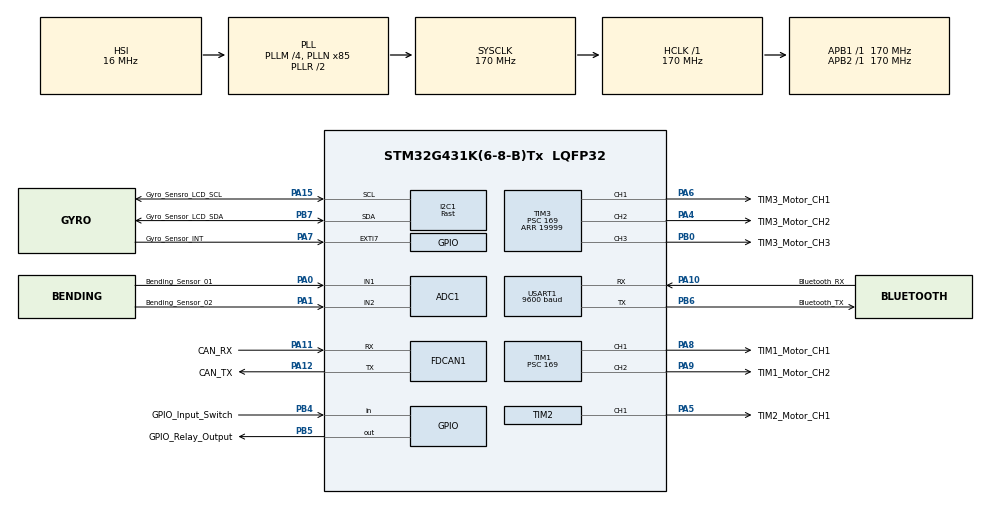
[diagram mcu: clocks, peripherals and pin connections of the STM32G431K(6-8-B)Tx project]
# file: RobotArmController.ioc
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ADC1.Channel-0\#ChannelRegularConversion=ADC_CHANNEL_1
ADC1.Channel-1\#ChannelRegularConversion=ADC_CHANNEL_2
ADC1.ContinuousConvMode=ENABLE
ADC1.DMAContinuousRequests=ENABLE
ADC1.NbrOfConversion=2
ADC1.NbrOfConversionFlag=1
ADC1.OffsetNumber-0\#ChannelRegularConversion=ADC_OFFSET_NONE
ADC1.OffsetNumber-1\#ChannelRegularConversion=ADC_OFFSET_NONE
ADC1.Rank-0\#ChannelRegularConversion=1
ADC1.Rank-1\#ChannelRegularConversion=2
ADC1.SamplingTime-0\#ChannelRegularConversion=ADC_SAMPLETIME_47CYCLES_5
ADC1.SamplingTime-1\#ChannelRegularConversion=ADC_SAMPLETIME_47CYCLES_5
ADC1.master=1
Dma.ADC1.1.Direction=DMA_PERIPH_TO_MEMORY
Dma.ADC1.1.EventEnable=DISABLE
Dma.ADC1.1.Instance=DMA1_Channel2
Dma.ADC1.1.MemDataAlignment=DMA_MDATAALIGN_HALFWORD
Dma.ADC1.1.MemInc=DMA_MINC_ENABLE
Dma.ADC1.1.Mode=DMA_CIRCULAR
Dma.ADC1.1.PeriphDataAlignment=DMA_PDATAALIGN_HALFWORD
Dma.ADC1.1.PeriphInc=DMA_PINC_DISABLE
Dma.ADC1.1.Polarity=HAL_DMAMUX_REQ_GEN_RISING
Dma.ADC1.1.Priority=DMA_PRIORITY_MEDIUM
Dma.ADC1.1.RequestNumber=1
Dma.ADC1.1.SignalID=NONE
Dma.ADC1.1.SyncEnable=DISABLE
Dma.ADC1.1.SyncPolarity=HAL_DMAMUX_SYNC_NO_EVENT
Dma.ADC1.1.SyncRequestNumber=1
Dma.ADC1.1.SyncSignalID=NONE
Dma.I2C1_RX.0.Direction=DMA_PERIPH_TO_MEMORY
Dma.I2C1_RX.0.EventEnable=DISABLE
Dma.I2C1_RX.0.Instance=DMA1_Channel1
Dma.I2C1_RX.0.MemDataAlignment=DMA_MDATAALIGN_BYTE
Dma.I2C1_RX.0.MemInc=DMA_MINC_ENABLE
Dma.I2C1_RX.0.Mode=DMA_NORMAL
Dma.I2C1_RX.0.PeriphDataAlignment=DMA_PDATAALIGN_BYTE
Dma.I2C1_RX.0.PeriphInc=DMA_PINC_DISABLE
Dma.I2C1_RX.0.Polarity=HAL_DMAMUX_REQ_GEN_RISING
Dma.I2C1_RX.0.Priority=DMA_PRIORITY_MEDIUM
Dma.I2C1_RX.0.RequestNumber=1
Dma.I2C1_RX.0.SignalID=NONE
Dma.I2C1_RX.0.SyncEnable=DISABLE
Dma.I2C1_RX.0.SyncPolarity=HAL_DMAMUX_SYNC_NO_EVENT
Dma.I2C1_RX.0.SyncRequestNumber=1
Dma.I2C1_RX.0.SyncSignalID=NONE
Dma.Request0=I2C1_RX
Dma.Request1=ADC1
FDCAN1.AutoRetransmission=ENABLE
FDCAN1.CalculateBaudRateNominal=500000
FDCAN1.CalculateTimeBitNominal=2000
FDCAN1.CalculateTimeQuantumNominal=100.0
FDCAN1.NominalPrescaler=17
FDCAN1.NominalTimeSeg1=9
FDCAN1.NominalTimeSeg2=10
FDCAN1.StdFiltersNbr=2
FREERTOS.BinarySemaphores01=CAN_Sem,Dynamic,NULL,Available;LCD_Sem,Dynamic,NULL,Available;Gyro_Sem,Dynamic,NULL,Available
FREERTOS.INCLUDE_pcTaskGetTaskName=1
FREERTOS.INCLUDE_xSemaphoreGetMutexHolder=1
FREERTOS.Queues01=CAN_Queue,16,uint16_t,0,Dynamic,NULL,NULL;BT_Queue,16,uint16_t,0,Dynamic,NULL,NULL
FREERTOS.Tasks01=defaultTask,24,128,StartDefaultTask,Default,NULL,Dynamic,NULL,NULL;Comm_Task,32,256,StartCommTask,Default,NULL,Dynamic,NULL,NULL;Servo_Task,24,256,StartServoTask,Default,NULL,Dynamic,NULL,NULL;LCD_Task,16,256,StartLCDTask04,Default,NULL,Dynamic,NULL,NULL;Mode_Task,32,128,StartModeTask,Default,NULL,Dynamic,NULL,NULL
FREERTOS.Timers01=TimerOnce,TimerOnce_Callback,osTimerOnce,Default,NULL,Dynamic,NULL;Timer10ms,Timer10ms_Callback,osTimerPeriodic,Default,NULL,Dynamic,NULL;Timer100ms,Timer100ms_Callback,osTimerPeriodic,Default,NULL,Dynamic,NULL
FREERTOS.configCHECK_FOR_STACK_OVERFLOW=2
FREERTOS.configENABLE_FPU=1
FREERTOS.configTOTAL_HEAP_SIZE=8192
FREERTOS.configUSE_NEWLIB_REENTRANT=1
I2C1.I2C_Speed_Mode=I2C_Fast
I2C1.Timing=0x40621236
Mcu.Family=STM32G4
Mcu.Name=STM32G431K(6-8-B)Tx
Mcu.Package=LQFP32
NUCLEO-G431KB.LD2=true
NUCLEO-G431KB.VCP=true
NVIC.ADC1_2_IRQn=true\:5\:0\:false\:false\:true\:true\:true\:true\:true
NVIC.DMA1_Channel1_IRQn=true\:5\:0\:false\:false\:true\:true\:false\:true\:true
NVIC.DMA1_Channel2_IRQn=true\:5\:0\:false\:false\:true\:true\:false\:true\:true
NVIC.EXTI9_5_IRQn=true\:5\:0\:false\:false\:true\:true\:true\:true\:true
NVIC.FDCAN1_IT0_IRQn=true\:5\:0\:false\:false\:true\:true\:true\:true\:true
NVIC.FDCAN1_IT1_IRQn=true\:5\:0\:false\:false\:true\:true\:true\:true\:true
NVIC.I2C1_ER_IRQn=true\:5\:0\:false\:false\:true\:true\:true\:true\:true
NVIC.I2C1_EV_IRQn=true\:5\:0\:false\:false\:true\:true\:true\:true\:true
NVIC.PriorityGroup=NVIC_PRIORITYGROUP_4
NVIC.TIM4_IRQn=true\:15\:0\:false\:false\:true\:false\:false\:true\:true
NVIC.TimeBase=TIM4_IRQn
NVIC.TimeBaseIP=TIM4
NVIC.USART1_IRQn=true\:5\:0\:false\:false\:true\:true\:true\:true\:true
PA0.GPIO_Label=Bending_Sensor_01
PA0.Mode=IN1-Single-Ended
PA0.Signal=ADC1_IN1
PA1.GPIO_Label=Bending_Sensor_02
PA1.Mode=IN2-Single-Ended
PA1.Signal=ADC1_IN2
PA10.GPIO_Label=Bluetooth_RX
PA10.Mode=Asynchronous
PA10.Signal=USART1_RX
PA11.GPIO_Label=CAN_RX
PA11.Mode=FDCAN_Activate
PA11.Signal=FDCAN1_RX
PA12.GPIO_Label=CAN_TX
PA12.Mode=FDCAN_Activate
PA12.Signal=FDCAN1_TX
PA13.GPIO_Label=T_SWDIO
PA13.Mode=Serial_Wire
PA13.Signal=SYS_JTMS-SWDIO
PA14.GPIO_Label=T_SWCLK
PA14.Mode=Serial_Wire
PA14.Signal=SYS_JTCK-SWCLK
PA15.GPIO_Label=Gyro_Sensro_LCD_SCL
PA15.Mode=I2C
PA15.Signal=I2C1_SCL
PA2.Signal=USART2_TX
PA3.Signal=USART2_RX
PA4.GPIO_Label=TIM3_Motor_CH2
PA4.Signal=S_TIM3_CH2
PA5.GPIO_Label=TIM2_Motor_CH1
PA5.Signal=S_TIM2_CH1
PA6.GPIO_Label=TIM3_Motor_CH1
PA6.Signal=S_TIM3_CH1
PA7.GPIO_Label=Gyro_Sensor_INT
PA7.GPIO_ModeDefaultEXTI=GPIO_MODE_IT_RISING
PA7.GPIO_PuPd=GPIO_NOPULL
PA7.Signal=GPXTI7
PA8.GPIO_Label=TIM1_Motor_CH1
PA8.Signal=S_TIM1_CH1
PA9.GPIO_Label=TIM1_Motor_CH2
PA9.Signal=S_TIM1_CH2
PB0.GPIO_Label=TIM3_Motor_CH3
PB0.Signal=S_TIM3_CH3
PB3.GPIO_Label=T_SWO
PB3.Signal=SYS_JTDO-SWO
PB4.GPIO_Label=GPIO_Input_Switch
PB4.GPIO_PuPd=GPIO_PULLUP
PB4.Signal=GPIO_Input
PB5.GPIO_Label=GPIO_Relay_Output
PB5.GPIO_PuPd=GPIO_NOPULL
PB5.GPIO_Speed=GPIO_SPEED_FREQ_LOW
PB5.Signal=GPIO_Output
PB6.GPIO_Label=Bluetooth_TX
PB6.Mode=Asynchronous
PB6.Signal=USART1_TX
PB7.GPIO_Label=Gyro_Sensor_LCD_SDA
PB7.Mode=I2C
PB7.Signal=I2C1_SDA
PF0-OSC_IN.GPIO_Label=Clock_Timing_IN
PF0-OSC_IN.Mode=HSE-External-Oscillator
PF0-OSC_IN.Signal=RCC_OSC_IN
PF1-OSC_OUT.GPIO_Label=Clock_Timing_OUT
PF1-OSC_OUT.Mode=HSE-External-Oscillator
PF1-OSC_OUT.Signal=RCC_OSC_OUT
ProjectManager.HeapSize=0x200
ProjectManager.StackSize=0x400
ProjectManager.TargetToolchain=STM32CubeIDE
RCC.ADC12Freq_Value=170000000
RCC.AHBFreq_Value=170000000
RCC.APB1Freq_Value=170000000
RCC.APB1TimFreq_Value=170000000
RCC.APB2Freq_Value=170000000
RCC.APB2TimFreq_Value=170000000
RCC.CortexFreq_Value=170000000
RCC.EXTERNAL_CLOCK_VALUE=12288000
RCC.HCLKFreq_Value=170000000
RCC.HSE_VALUE=8000000
RCC.HSI48_VALUE=48000000
RCC.HSI_VALUE=16000000
RCC.LSE_VALUE=32768
RCC.PLLM=RCC_PLLM_DIV4
RCC.PLLN=85
RCC.PREFETCH_ENABLE=1
RCC.SYSCLKFreq_VALUE=170000000
RCC.SYSCLKSource=RCC_SYSCLKSOURCE_PLLCLK
RCC.USBFreq_Value=170000000
RCC.VCOOutputFreq_Value=340000000
SH.S_TIM1_CH1.0=TIM1_CH1,PWM Generation1 CH1
SH.S_TIM1_CH2.0=TIM1_CH2,PWM Generation2 CH2
SH.S_TIM2_CH1.0=TIM2_CH1,PWM Generation1 CH1
SH.S_TIM3_CH1.0=TIM3_CH1,PWM Generation1 CH1
SH.S_TIM3_CH2.0=TIM3_CH2,PWM Generation2 CH2
SH.S_TIM3_CH3.0=TIM3_CH3,PWM Generation3 CH3
TIM1.Channel-PWM\ Generation1\ CH1=TIM_CHANNEL_1
TIM1.Channel-PWM\ Generation2\ CH2=TIM_CHANNEL_2
TIM1.PeriodNoDither=19999
TIM1.Prescaler=169
TIM1.PulseNoDither_1=1500
TIM1.PulseNoDither_2=1500
TIM2.Channel-PWM\ Generation1\ CH1=TIM_CHANNEL_1
TIM2.PeriodNoDither=19999
TIM2.Prescaler=169
TIM2.PulseNoDither_1=1500
TIM3.Channel-PWM\ Generation1\ CH1=TIM_CHANNEL_1
TIM3.Channel-PWM\ Generation2\ CH2=TIM_CHANNEL_2
TIM3.Channel-PWM\ Generation3\ CH3=TIM_CHANNEL_3
TIM3.PeriodNoDither=19999
TIM3.Prescaler=169
TIM3.PulseNoDither_1=1500
TIM3.PulseNoDither_2=1500
TIM3.PulseNoDither_3=1500
USART1.BaudRate=9600
USART1.VirtualMode-Asynchronous=VM_ASYNC
VP_FREERTOS_VS_CMSIS_V2.Mode=CMSIS_V2
VP_NUCLEO-G431KB_VS_BSP_COMMON.Mode=COMMON
VP_SYS_VS_DBSignals.Mode=DisableDeadBatterySignals
VP_SYS_VS_tim4.Mode=TIM4
board=NUCLEO-G431KB

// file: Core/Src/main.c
/* USER CODE BEGIN Header */
/**
  ******************************************************************************
  * @file           : main.c
  * @brief          : Main program body
  ******************************************************************************
  * @attention
  *
  * Copyright (c) 2026 STMicroelectronics.
  * All rights reserved.
  *
  * This software is licensed under terms that can be found in the LICENSE file
  * in the root directory of this software component.
  * If no LICENSE file comes with this software, it is provided AS-IS.
  *
  ******************************************************************************
  */
/* USER CODE END Header */
#include "main.h"
#include "cmsis_os.h"

/* USER CODE BEGIN Includes */
#include "comm_can.h"
#include "comm_can_controller.h"
#include "comm_can_robot.h"
#include "readSensor.h"
#include "bt_comm.h"
#include "Comm_Power_Select.h"
#include "debug_comm.h"          /* 릴레이 없이 CAN/BT 테스트 시 사용 (DEBUG_COMM_ENABLE 참고) */
#include "debug_comm_select.h"   /* debug_comm + 물리 버튼 폴링(PB4) 통합 버전 */
/* USER CODE END Includes */

COM_InitTypeDef BspCOMInit;

ADC_HandleTypeDef hadc1;
DMA_HandleTypeDef hdma_adc1;

FDCAN_HandleTypeDef hfdcan1;

I2C_HandleTypeDef hi2c1;
DMA_HandleTypeDef hdma_i2c1_rx;

TIM_HandleTypeDef htim1;
TIM_HandleTypeDef htim2;
TIM_HandleTypeDef htim3;

UART_HandleTypeDef huart1;

/* Definitions for defaultTask */
osThreadId_t defaultTaskHandle;
const osThreadAttr_t defaultTask_attributes = {
  .name = "defaultTask",
  .priority = (osPriority_t) osPriorityNormal,
  .stack_size = 128 * 4
};
/* Definitions for Comm_Task */
osThreadId_t Comm_TaskHandle;
const osThreadAttr_t Comm_Task_attributes = {
  .name = "Comm_Task",
  .priority = (osPriority_t) osPriorityAboveNormal,
  .stack_size = 256 * 4
};
/* Definitions for Servo_Task */
osThreadId_t Servo_TaskHandle;
const osThreadAttr_t Servo_Task_attributes = {
  .name = "Servo_Task",
  .priority = (osPriority_t) osPriorityNormal,
  .stack_size = 256 * 4
};
/* Definitions for LCD_Task */
osThreadId_t LCD_TaskHandle;
const osThreadAttr_t LCD_Task_attributes = {
  .name = "LCD_Task",
  .priority = (osPriority_t) osPriorityBelowNormal,
  .stack_size = 256 * 4
};
/* Definitions for Mode_Task */
osThreadId_t Mode_TaskHandle;
const osThreadAttr_t Mode_Task_attributes = {
  .name = "Mode_Task",
  .priority = (osPriority_t) osPriorityAboveNormal,
  .stack_size = 512 * 4
};
/* Definitions for CAN_Queue */
osMessageQueueId_t CAN_QueueHandle;
const osMessageQueueAttr_t CAN_Queue_attributes = {
  .name = "CAN_Queue"
};
/* Definitions for BT_Queue */
osMessageQueueId_t BT_QueueHandle;
const osMessageQueueAttr_t BT_Queue_attributes = {
  .name = "BT_Queue"
};
/* Definitions for TimerOnce */
osTimerId_t TimerOnceHandle;
const osTimerAttr_t TimerOnce_attributes = {
  .name = "TimerOnce"
};
/* Definitions for Timer10ms */
osTimerId_t Timer10msHandle;
const osTimerAttr_t Timer10ms_attributes = {
  .name = "Timer10ms"
};
/* Definitions for Timer100ms */
osTimerId_t Timer100msHandle;
const osTimerAttr_t Timer100ms_attributes = {
  .name = "Timer100ms"
};
/* Definitions for CAN_Sem */
osSemaphoreId_t CAN_SemHandle;
const osSemaphoreAttr_t CAN_Sem_attributes = {
  .name = "CAN_Sem"
};
/* Definitions for LCD_Sem */
osSemaphoreId_t LCD_SemHandle;
const osSemaphoreAttr_t LCD_Sem_attributes = {
  .name = "LCD_Sem"
};
/* Definitions for Gyro_Sem */
osSemaphoreId_t Gyro_SemHandle;
const osSemaphoreAttr_t Gyro_Sem_attributes = {
  .name = "Gyro_Sem"
};

void SystemClock_Config(void);
static void MX_GPIO_Init(void);
static void MX_DMA_Init(void);
static void MX_FDCAN1_Init(void);
static void MX_I2C1_Init(void);
static void MX_ADC1_Init(void);
static void MX_USART1_UART_Init(void);
static void MX_TIM1_Init(void);
static void MX_TIM2_Init(void);
static void MX_TIM3_Init(void);
void StartDefaultTask(void *argument);
void StartCommTask(void *argument);
void StartServoTask(void *argument);
void StartLCDTask04(void *argument);
void StartModeTask(void *argument);
void TimerOnce_Callback(void *argument);
void Timer10ms_Callback(void *argument);
void Timer100ms_Callback(void *argument);

int main(void)
{

  /* MCU Configuration--------------------------------------------------------*/

  /* Reset of all peripherals, Initializes the Flash interface and the Systick. */
  HAL_Init();

  /* Configure the system clock */
  SystemClock_Config();

  /* Initialize all configured peripherals */
  MX_GPIO_Init();
  MX_DMA_Init();
  MX_FDCAN1_Init();
  MX_I2C1_Init();
  MX_ADC1_Init();
  MX_USART1_UART_Init();
  MX_TIM1_Init();
  MX_TIM2_Init();
  MX_TIM3_Init();
  /* USER CODE BEGIN 2 */
  /* ── 통신 초기화: 아래 셋 중 하나만 활성화 ──────────────
     [실사용]         릴레이 하드웨어 연결 시
                       CommPowerSelect_Init();
     [디버그-LiveExp]  릴레이 없이 CAN/BT 직접 테스트 (Live Expression 전환)
                       debug_comm.h에서 DEBUG_COMM_ENABLE=1, MODE 설정
                       Debug_Comm_Init();
     [디버그-버튼]     위와 동일 + PB4 물리 버튼으로도 CAN↔BT 토글 가능
                       Debug_CommSelect_Init();
     ──────────────────────────────────────────────────── */
#if (DEBUG_COMM_ENABLE)
  Debug_CommSelect_Init();
#else
  CommPowerSelect_Init();
#endif

  ReadSensor_Init();      // ADC DMA 시작, 센서 초기화 (통신 초기화 완료 후 마지막)
  /* USER CODE END 2 */

  /* Init scheduler */
  osKernelInitialize();

  /* Create the semaphores(s) */
  /* creation of CAN_Sem */
  CAN_SemHandle = osSemaphoreNew(1, 1, &CAN_Sem_attributes);

  /* creation of LCD_Sem */
  LCD_SemHandle = osSemaphoreNew(1, 1, &LCD_Sem_attributes);

  /* creation of Gyro_Sem */
  Gyro_SemHandle = osSemaphoreNew(1, 1, &Gyro_Sem_attributes);

  /* Create the timer(s) */
  /* creation of TimerOnce */
  TimerOnceHandle = osTimerNew(TimerOnce_Callback, osTimerOnce, NULL, &TimerOnce_attributes);

  /* creation of Timer10ms */
  Timer10msHandle = osTimerNew(Timer10ms_Callback, osTimerPeriodic, NULL, &Timer10ms_attributes);

  /* creation of Timer100ms */
  Timer100msHandle = osTimerNew(Timer100ms_Callback, osTimerPeriodic, NULL, &Timer100ms_attributes);

  /* USER CODE BEGIN RTOS_TIMERS */
  // TimerOnce: CommPowerSelect_ButtonPressed()에서 디바운스 시 직접 시작
  osTimerStart(Timer10msHandle,  10);   // 10ms 주기 → CAN_Sem → Comm_Task
  osTimerStart(Timer100msHandle, 100);  // 100ms 주기 → LCD_Sem → LCD_Task
  /* USER CODE END RTOS_TIMERS */

  /* Create the queue(s) */
  /* creation of CAN_Queue */
  CAN_QueueHandle = osMessageQueueNew (16, sizeof(uint16_t), &CAN_Queue_attributes);

  /* creation of BT_Queue */
  BT_QueueHandle = osMessageQueueNew (16, sizeof(uint16_t), &BT_Queue_attributes);

  /* Create the thread(s) */
  /* creation of defaultTask */
  defaultTaskHandle = osThreadNew(StartDefaultTask, NULL, &defaultTask_attributes);

  /* creation of Comm_Task */
  Comm_TaskHandle = osThreadNew(StartCommTask, NULL, &Comm_Task_attributes);

  /* creation of Servo_Task */
  Servo_TaskHandle = osThreadNew(StartServoTask, NULL, &Servo_Task_attributes);

  /* creation of LCD_Task */
  LCD_TaskHandle = osThreadNew(StartLCDTask04, NULL, &LCD_Task_attributes);

  /* creation of Mode_Task */
  Mode_TaskHandle = osThreadNew(StartModeTask, NULL, &Mode_Task_attributes);

  /* Initialize leds */
  BSP_LED_Init(LED_GREEN);

  /* Initialize COM1 port (115200, 8 bits (7-bit data + 1 stop bit), no parity */
  BspCOMInit.BaudRate   = 115200;
  BspCOMInit.WordLength = COM_WORDLENGTH_8B;
  BspCOMInit.StopBits   = COM_STOPBITS_1;
  BspCOMInit.Parity     = COM_PARITY_NONE;
  BspCOMInit.HwFlowCtl  = COM_HWCONTROL_NONE;
  if (BSP_COM_Init(COM1, &BspCOMInit) != BSP_ERROR_NONE)
  {
    Error_Handler();
  }

  /* Start scheduler */
  osKernelStart();

  /* We should never get here as control is now taken by the scheduler */

  /* Infinite loop */
  while (1)
  {

  }
}

void SystemClock_Config(void)
{
  RCC_OscInitTypeDef RCC_OscInitStruct = {0};
  RCC_ClkInitTypeDef RCC_ClkInitStruct = {0};

  /** Configure the main internal regulator output voltage
  */
  HAL_PWREx_ControlVoltageScaling(PWR_REGULATOR_VOLTAGE_SCALE1_BOOST);

  /** Initializes the RCC Oscillators according to the specified parameters
  * in the RCC_OscInitTypeDef structure.
  */
  RCC_OscInitStruct.OscillatorType = RCC_OSCILLATORTYPE_HSI;
  RCC_OscInitStruct.HSIState = RCC_HSI_ON;
  RCC_OscInitStruct.HSICalibrationValue = RCC_HSICALIBRATION_DEFAULT;
  RCC_OscInitStruct.PLL.PLLState = RCC_PLL_ON;
  RCC_OscInitStruct.PLL.PLLSource = RCC_PLLSOURCE_HSI;
  RCC_OscInitStruct.PLL.PLLM = RCC_PLLM_DIV4;
  RCC_OscInitStruct.PLL.PLLN = 85;
  RCC_OscInitStruct.PLL.PLLP = RCC_PLLP_DIV2;
  RCC_OscInitStruct.PLL.PLLQ = RCC_PLLQ_DIV2;
  RCC_OscInitStruct.PLL.PLLR = RCC_PLLR_DIV2;
  if (HAL_RCC_OscConfig(&RCC_OscInitStruct) != HAL_OK)
  {
    Error_Handler();
  }

  /** Initializes the CPU, AHB and APB buses clocks
  */
  RCC_ClkInitStruct.ClockType = RCC_CLOCKTYPE_HCLK|RCC_CLOCKTYPE_SYSCLK
                              |RCC_CLOCKTYPE_PCLK1|RCC_CLOCKTYPE_PCLK2;
  RCC_ClkInitStruct.SYSCLKSource = RCC_SYSCLKSOURCE_PLLCLK;
  RCC_ClkInitStruct.AHBCLKDivider = RCC_SYSCLK_DIV1;
  RCC_ClkInitStruct.APB1CLKDivider = RCC_HCLK_DIV1;
  RCC_ClkInitStruct.APB2CLKDivider = RCC_HCLK_DIV1;

  if (HAL_RCC_ClockConfig(&RCC_ClkInitStruct, FLASH_LATENCY_4) != HAL_OK)
  {
    Error_Handler();
  }
}

static void MX_ADC1_Init(void)
{

  ADC_MultiModeTypeDef multimode = {0};
  ADC_ChannelConfTypeDef sConfig = {0};

  /** Common config
  */
  hadc1.Instance = ADC1;
  hadc1.Init.ClockPrescaler = ADC_CLOCK_SYNC_PCLK_DIV4;
  hadc1.Init.Resolution = ADC_RESOLUTION_12B;
  hadc1.Init.DataAlign = ADC_DATAALIGN_RIGHT;
  hadc1.Init.GainCompensation = 0;
  hadc1.Init.ScanConvMode = ADC_SCAN_ENABLE;
  hadc1.Init.EOCSelection = ADC_EOC_SINGLE_CONV;
  hadc1.Init.LowPowerAutoWait = DISABLE;
  hadc1.Init.ContinuousConvMode = ENABLE;
  hadc1.Init.NbrOfConversion = 2;
  hadc1.Init.DiscontinuousConvMode = DISABLE;
  hadc1.Init.ExternalTrigConv = ADC_SOFTWARE_START;
  hadc1.Init.ExternalTrigConvEdge = ADC_EXTERNALTRIGCONVEDGE_NONE;
  hadc1.Init.DMAContinuousRequests = ENABLE;
  hadc1.Init.Overrun = ADC_OVR_DATA_PRESERVED;
  hadc1.Init.OversamplingMode = DISABLE;
  if (HAL_ADC_Init(&hadc1) != HAL_OK)
  {
    Error_Handler();
  }

  /** Configure the ADC multi-mode
  */
  multimode.Mode = ADC_MODE_INDEPENDENT;
  if (HAL_ADCEx_MultiModeConfigChannel(&hadc1, &multimode) != HAL_OK)
  {
    Error_Handler();
  }

  /** Configure Regular Channel
  */
  sConfig.Channel = ADC_CHANNEL_1;
  sConfig.Rank = ADC_REGULAR_RANK_1;
  sConfig.SamplingTime = ADC_SAMPLETIME_47CYCLES_5;
  sConfig.SingleDiff = ADC_SINGLE_ENDED;
  sConfig.OffsetNumber = ADC_OFFSET_NONE;
  sConfig.Offset = 0;
  if (HAL_ADC_ConfigChannel(&hadc1, &sConfig) != HAL_OK)
  {
    Error_Handler();
  }

  /** Configure Regular Channel
  */
  sConfig.Channel = ADC_CHANNEL_2;
  sConfig.Rank = ADC_REGULAR_RANK_2;
  if (HAL_ADC_ConfigChannel(&hadc1, &sConfig) != HAL_OK)
  {
    Error_Handler();
  }

}

static void MX_FDCAN1_Init(void)
{

  hfdcan1.Instance = FDCAN1;
  hfdcan1.Init.ClockDivider = FDCAN_CLOCK_DIV1;
  hfdcan1.Init.FrameFormat = FDCAN_FRAME_CLASSIC;
  hfdcan1.Init.Mode = FDCAN_MODE_NORMAL;
  hfdcan1.Init.AutoRetransmission = ENABLE;
  hfdcan1.Init.TransmitPause = DISABLE;
  hfdcan1.Init.ProtocolException = DISABLE;
  hfdcan1.Init.NominalPrescaler = 17;
  hfdcan1.Init.NominalSyncJumpWidth = 1;
  hfdcan1.Init.NominalTimeSeg1 = 9;
  hfdcan1.Init.NominalTimeSeg2 = 10;
  hfdcan1.Init.DataPrescaler = 1;
  hfdcan1.Init.DataSyncJumpWidth = 1;
  hfdcan1.Init.DataTimeSeg1 = 1;
  hfdcan1.Init.DataTimeSeg2 = 1;
  hfdcan1.Init.StdFiltersNbr = 2;
  hfdcan1.Init.ExtFiltersNbr = 0;
  hfdcan1.Init.TxFifoQueueMode = FDCAN_TX_FIFO_OPERATION;
  if (HAL_FDCAN_Init(&hfdcan1) != HAL_OK)
  {
    Error_Handler();
  }

}

static void MX_I2C1_Init(void)
{

  hi2c1.Instance = I2C1;
  hi2c1.Init.Timing = 0x40621236;
  hi2c1.Init.OwnAddress1 = 0;
  hi2c1.Init.AddressingMode = I2C_ADDRESSINGMODE_7BIT;
  hi2c1.Init.DualAddressMode = I2C_DUALADDRESS_DISABLE;
  hi2c1.Init.OwnAddress2 = 0;
  hi2c1.Init.OwnAddress2Masks = I2C_OA2_NOMASK;
  hi2c1.Init.GeneralCallMode = I2C_GENERALCALL_DISABLE;
  hi2c1.Init.NoStretchMode = I2C_NOSTRETCH_DISABLE;
  if (HAL_I2C_Init(&hi2c1) != HAL_OK)
  {
    Error_Handler();
  }

  /** Configure Analogue filter
  */
  if (HAL_I2CEx_ConfigAnalogFilter(&hi2c1, I2C_ANALOGFILTER_ENABLE) != HAL_OK)
  {
    Error_Handler();
  }

  /** Configure Digital filter
  */
  if (HAL_I2CEx_ConfigDigitalFilter(&hi2c1, 0) != HAL_OK)
  {
    Error_Handler();
  }

}

static void MX_TIM1_Init(void)
{

  TIM_MasterConfigTypeDef sMasterConfig = {0};
  TIM_OC_InitTypeDef sConfigOC = {0};
  TIM_BreakDeadTimeConfigTypeDef sBreakDeadTimeConfig = {0};

  htim1.Instance = TIM1;
  htim1.Init.Prescaler = 169;
  htim1.Init.CounterMode = TIM_COUNTERMODE_UP;
  htim1.Init.Period = 19999;
  htim1.Init.ClockDivision = TIM_CLOCKDIVISION_DIV1;
  htim1.Init.RepetitionCounter = 0;
  htim1.Init.AutoReloadPreload = TIM_AUTORELOAD_PRELOAD_DISABLE;
  if (HAL_TIM_PWM_Init(&htim1) != HAL_OK)
  {
    Error_Handler();
  }
  sMasterConfig.MasterOutputTrigger = TIM_TRGO_RESET;
  sMasterConfig.MasterOutputTrigger2 = TIM_TRGO2_RESET;
  sMasterConfig.MasterSlaveMode = TIM_MASTERSLAVEMODE_DISABLE;
  if (HAL_TIMEx_MasterConfigSynchronization(&htim1, &sMasterConfig) != HAL_OK)
  {
    Error_Handler();
  }
  sConfigOC.OCMode = TIM_OCMODE_PWM1;
  sConfigOC.Pulse = 1500;
  sConfigOC.OCPolarity = TIM_OCPOLARITY_HIGH;
  sConfigOC.OCNPolarity = TIM_OCNPOLARITY_HIGH;
  sConfigOC.OCFastMode = TIM_OCFAST_DISABLE;
  sConfigOC.OCIdleState = TIM_OCIDLESTATE_RESET;
  sConfigOC.OCNIdleState = TIM_OCNIDLESTATE_RESET;
  if (HAL_TIM_PWM_ConfigChannel(&htim1, &sConfigOC, TIM_CHANNEL_1) != HAL_OK)
  {
    Error_Handler();
  }
  if (HAL_TIM_PWM_ConfigChannel(&htim1, &sConfigOC, TIM_CHANNEL_2) != HAL_OK)
  {
    Error_Handler();
  }
  sBreakDeadTimeConfig.OffStateRunMode = TIM_OSSR_DISABLE;
  sBreakDeadTimeConfig.OffStateIDLEMode = TIM_OSSI_DISABLE;
  sBreakDeadTimeConfig.LockLevel = TIM_LOCKLEVEL_OFF;
  sBreakDeadTimeConfig.DeadTime = 0;
  sBreakDeadTimeConfig.BreakState = TIM_BREAK_DISABLE;
  sBreakDeadTimeConfig.BreakPolarity = TIM_BREAKPOLARITY_HIGH;
  sBreakDeadTimeConfig.BreakFilter = 0;
  sBreakDeadTimeConfig.BreakAFMode = TIM_BREAK_AFMODE_INPUT;
  sBreakDeadTimeConfig.Break2State = TIM_BREAK2_DISABLE;
  sBreakDeadTimeConfig.Break2Polarity = TIM_BREAK2POLARITY_HIGH;
  sBreakDeadTimeConfig.Break2Filter = 0;
  sBreakDeadTimeConfig.Break2AFMode = TIM_BREAK_AFMODE_INPUT;
  sBreakDeadTimeConfig.AutomaticOutput = TIM_AUTOMATICOUTPUT_DISABLE;
  if (HAL_TIMEx_ConfigBreakDeadTime(&htim1, &sBreakDeadTimeConfig) != HAL_OK)
  {
    Error_Handler();
  }
  HAL_TIM_MspPostInit(&htim1);

}

static void MX_TIM2_Init(void)
{

  TIM_MasterConfigTypeDef sMasterConfig = {0};
  TIM_OC_InitTypeDef sConfigOC = {0};

  htim2.Instance = TIM2;
  htim2.Init.Prescaler = 169;
  htim2.Init.CounterMode = TIM_COUNTERMODE_UP;
  htim2.Init.Period = 19999;
  htim2.Init.ClockDivision = TIM_CLOCKDIVISION_DIV1;
  htim2.Init.AutoReloadPreload = TIM_AUTORELOAD_PRELOAD_DISABLE;
  if (HAL_TIM_PWM_Init(&htim2) != HAL_OK)
  {
    Error_Handler();
  }
  sMasterConfig.MasterOutputTrigger = TIM_TRGO_RESET;
  sMasterConfig.MasterSlaveMode = TIM_MASTERSLAVEMODE_DISABLE;
  if (HAL_TIMEx_MasterConfigSynchronization(&htim2, &sMasterConfig) != HAL_OK)
  {
    Error_Handler();
  }
  sConfigOC.OCMode = TIM_OCMODE_PWM1;
  sConfigOC.Pulse = 1500;
  sConfigOC.OCPolarity = TIM_OCPOLARITY_HIGH;
  sConfigOC.OCFastMode = TIM_OCFAST_DISABLE;
  if (HAL_TIM_PWM_ConfigChannel(&htim2, &sConfigOC, TIM_CHANNEL_1) != HAL_OK)
  {
    Error_Handler();
  }
  HAL_TIM_MspPostInit(&htim2);

}

static void MX_TIM3_Init(void)
{

  TIM_MasterConfigTypeDef sMasterConfig = {0};
  TIM_OC_InitTypeDef sConfigOC = {0};

  htim3.Instance = TIM3;
  htim3.Init.Prescaler = 169;
  htim3.Init.CounterMode = TIM_COUNTERMODE_UP;
  htim3.Init.Period = 19999;
  htim3.Init.ClockDivision = TIM_CLOCKDIVISION_DIV1;
  htim3.Init.AutoReloadPreload = TIM_AUTORELOAD_PRELOAD_DISABLE;
  if (HAL_TIM_PWM_Init(&htim3) != HAL_OK)
  {
    Error_Handler();
  }
  sMasterConfig.MasterOutputTrigger = TIM_TRGO_RESET;
  sMasterConfig.MasterSlaveMode = TIM_MASTERSLAVEMODE_DISABLE;
  if (HAL_TIMEx_MasterConfigSynchronization(&htim3, &sMasterConfig) != HAL_OK)
  {
    Error_Handler();
  }
  sConfigOC.OCMode = TIM_OCMODE_PWM1;
  sConfigOC.Pulse = 1500;
  sConfigOC.OCPolarity = TIM_OCPOLARITY_HIGH;
  sConfigOC.OCFastMode = TIM_OCFAST_DISABLE;
  if (HAL_TIM_PWM_ConfigChannel(&htim3, &sConfigOC, TIM_CHANNEL_1) != HAL_OK)
  {
    Error_Handler();
  }
  if (HAL_TIM_PWM_ConfigChannel(&htim3, &sConfigOC, TIM_CHANNEL_2) != HAL_OK)
  {
    Error_Handler();
  }
  if (HAL_TIM_PWM_ConfigChannel(&htim3, &sConfigOC, TIM_CHANNEL_3) != HAL_OK)
  {
    Error_Handler();
  }
  HAL_TIM_MspPostInit(&htim3);

}

static void MX_USART1_UART_Init(void)
{

  huart1.Instance = USART1;
  huart1.Init.BaudRate = 115200;
  huart1.Init.WordLength = UART_WORDLENGTH_8B;
  huart1.Init.StopBits = UART_STOPBITS_1;
  huart1.Init.Parity = UART_PARITY_NONE;
  huart1.Init.Mode = UART_MODE_TX_RX;
  huart1.Init.HwFlowCtl = UART_HWCONTROL_NONE;
  huart1.Init.OverSampling = UART_OVERSAMPLING_16;
  huart1.Init.OneBitSampling = UART_ONE_BIT_SAMPLE_DISABLE;
  huart1.Init.ClockPrescaler = UART_PRESCALER_DIV1;
  huart1.AdvancedInit.AdvFeatureInit = UART_ADVFEATURE_NO_INIT;
  if (HAL_UART_Init(&huart1) != HAL_OK)
  {
    Error_Handler();
  }
  if (HAL_UARTEx_SetTxFifoThreshold(&huart1, UART_TXFIFO_THRESHOLD_1_8) != HAL_OK)
  {
    Error_Handler();
  }
  if (HAL_UARTEx_SetRxFifoThreshold(&huart1, UART_RXFIFO_THRESHOLD_1_8) != HAL_OK)
  {
    Error_Handler();
  }
  if (HAL_UARTEx_DisableFifoMode(&huart1) != HAL_OK)
  {
    Error_Handler();
  }

}

static void MX_DMA_Init(void)
{

  /* DMA controller clock enable */
  __HAL_RCC_DMAMUX1_CLK_ENABLE();
  __HAL_RCC_DMA1_CLK_ENABLE();

  /* DMA interrupt init */
  /* DMA1_Channel1_IRQn interrupt configuration */
  HAL_NVIC_SetPriority(DMA1_Channel1_IRQn, 5, 0);
  HAL_NVIC_EnableIRQ(DMA1_Channel1_IRQn);
  /* DMA1_Channel2_IRQn interrupt configuration */
  HAL_NVIC_SetPriority(DMA1_Channel2_IRQn, 5, 0);
  HAL_NVIC_EnableIRQ(DMA1_Channel2_IRQn);

}

static void MX_GPIO_Init(void)
{
  GPIO_InitTypeDef GPIO_InitStruct = {0};

  /* GPIO Ports Clock Enable */
  __HAL_RCC_GPIOF_CLK_ENABLE();
  __HAL_RCC_GPIOA_CLK_ENABLE();
  __HAL_RCC_GPIOB_CLK_ENABLE();

  /*Configure GPIO pin Output Level */
  HAL_GPIO_WritePin(GPIO_Relay_Output_GPIO_Port, GPIO_Relay_Output_Pin, GPIO_PIN_RESET);

  /*Configure GPIO pin : Gyro_Sensor_INT_Pin */
  GPIO_InitStruct.Pin = Gyro_Sensor_INT_Pin;
  GPIO_InitStruct.Mode = GPIO_MODE_IT_RISING;
  GPIO_InitStruct.Pull = GPIO_NOPULL;
  HAL_GPIO_Init(Gyro_Sensor_INT_GPIO_Port, &GPIO_InitStruct);

  /*Configure GPIO pin : GPIO_Input_Switch_Pin */
  GPIO_InitStruct.Pin = GPIO_Input_Switch_Pin;
  GPIO_InitStruct.Mode = GPIO_MODE_INPUT;
  GPIO_InitStruct.Pull = GPIO_PULLUP;
  HAL_GPIO_Init(GPIO_Input_Switch_GPIO_Port, &GPIO_InitStruct);

  /*Configure GPIO pin : GPIO_Relay_Output_Pin */
  GPIO_InitStruct.Pin = GPIO_Relay_Output_Pin;
  GPIO_InitStruct.Mode = GPIO_MODE_OUTPUT_PP;
  GPIO_InitStruct.Pull = GPIO_NOPULL;
  GPIO_InitStruct.Speed = GPIO_SPEED_FREQ_LOW;
  HAL_GPIO_Init(GPIO_Relay_Output_GPIO_Port, &GPIO_InitStruct);

  /* EXTI interrupt init*/
  HAL_NVIC_SetPriority(EXTI9_5_IRQn, 5, 0);
  HAL_NVIC_EnableIRQ(EXTI9_5_IRQn);

}

/* USER CODE BEGIN 4 */
void HAL_GPIO_EXTI_Callback(uint16_t GPIO_Pin)
{
    if (GPIO_Pin == GPIO_Input_Switch_Pin)
        CommPowerSelect_ButtonPressed();
}
/* USER CODE END 4 */

void StartDefaultTask(void *argument)
{
  for(;;)
  {
    osDelay(1);
  }
}

/* USER CODE BEGIN Header_StartCommTask */
/**
* @brief Function implementing the Comm_Task thread.
* @param argument: Not used
* @retval None
*/

/* Live Expression 진단 변수 */
volatile uint32_t DIAG_mode_task_cnt  = 0;  /* Mode_Task 루프 횟수 */
volatile uint32_t DIAG_ts_mode        = 0;  /* Mode_Task 루프 진입 HAL_GetTick() */
volatile uint32_t DIAG_timer10_cnt    = 0;  /* Timer10ms 실제 호출 횟수 */
volatile uint32_t DIAG_comm_task_cnt  = 0;  /* CommTask 루프 횟수 (BT 전환 후 동결 확인) */
volatile uint32_t DIAG_stack_comm     = 0xFFFF;  /* CommTask 최소 여유 스택(words) — 0이면 오버플로 */
volatile uint32_t DIAG_stack_mode     = 0xFFFF;  /* Mode_Task 최소 여유 스택(words) */

/* USER CODE END Header_StartCommTask */
void StartCommTask(void *argument)
{
  /* USER CODE BEGIN StartCommTask */
    uint8_t cnt100ms = 0;

    for(;;)
    {
        /* 10ms마다 Timer10ms_Callback이 release */
        osSemaphoreAcquire(CAN_SemHandle, osWaitForever);
        DIAG_comm_task_cnt++;
        DIAG_stack_comm = uxTaskGetStackHighWaterMark(NULL);

        /* ── 10ms: 센서 읽기 (항상 실행) ──────────────────── */
        ReadSensor_Update_10ms();

        /* ── 10ms: 통신 모드별 송신 ────────────────────────── */
#if (!ProjModeState)
        /* 리모콘 보드 */
        if (currentCommMode == COMM_MODE_CAN) {
            Controller_CAN_TX_Sensor();
        } else if (currentCommMode == COMM_MODE_BT) {
            BT_Pack_And_Send(BT_ID_REMOTE_SENSOR,
                             (uint8_t *)&remoteSensorTx, sizeof(remoteSensorTx));
        }

#else
        /* 로봇팔 보드 — CAN 모드는 수신만, BT 모드는 패킷 수신 후 큐 전달 */
        if (currentCommMode == COMM_MODE_BT) {
            BT_Packet_t pkt;
            if (BT_Receive_Packet(&pkt)) {
                if (pkt.id == BT_ID_REMOTE_SENSOR) {
                    /* 수신된 센서값 → 모터 PWM 변환은 Servo_Task에서 처리 */
                    /* 여기선 큐에 전달 */
                    osMessageQueuePut(BT_QueueHandle, &pkt, 0, 0);
                }
            }
        }
#endif

        /* ── 100ms: 상태 송신 (10틱마다 1회) ──────────────── */
        if (++cnt100ms >= 10) {
            cnt100ms = 0;

#if (!ProjModeState)
            /* 리모콘 보드 — CAN만 상태 송신, BT는 없음 */
            if (currentCommMode == COMM_MODE_CAN) {
                Controller_CAN_TX_Status();
            }
#else
            /* 로봇팔 보드 */
            if (currentCommMode == COMM_MODE_CAN) {
                Robot_CAN_TX_Status();
            }
#endif
        }
    }
  /* USER CODE END StartCommTask */
}

void StartServoTask(void *argument)
{
  for(;;)
  {
    osDelay(1);
  }
}

void StartLCDTask04(void *argument)
{
  /* USER CODE BEGIN StartLCDTask04 */
  for(;;)
  {
    osSemaphoreAcquire(LCD_SemHandle, osWaitForever);  // Timer100ms_Callback이 100ms마다 release
    // LCD 표시 (추후 구현)
  }
  /* USER CODE END StartLCDTask04 */
}

void StartModeTask(void *argument)
{
  /* USER CODE BEGIN StartModeTask */
  /* Infinite loop */
  for(;;)
  {
      DIAG_ts_mode = HAL_GetTick();     /* 루프 진입 시각 — 연속 차이값으로 실제 주기 측정 */
      DIAG_mode_task_cnt++;
      DIAG_stack_mode = uxTaskGetStackHighWaterMark(NULL);
      ReadSensor_Update_100ms();
      BT_ConnectionMonitor_100ms();
#if (DEBUG_COMM_ENABLE)
      Debug_CommSelect_Apply();
#else
      CommPowerSelect_Apply();
#endif
      osDelay(100);
  }
  /* USER CODE END StartModeTask */
}

/* TimerOnce_Callback function */
void TimerOnce_Callback(void *argument)
{
  /* USER CODE BEGIN TimerOnce_Callback */
    CommPowerSelect_DebounceExpired();
  /* USER CODE END TimerOnce_Callback */
}

/* Timer10ms_Callback function */
void Timer10ms_Callback(void *argument)
{
  /* USER CODE BEGIN Timer10ms_Callback */
  DIAG_timer10_cnt++;
  osSemaphoreRelease(CAN_SemHandle);
  /* USER CODE END Timer10ms_Callback */
}

/* Timer100ms_Callback function */
void Timer100ms_Callback(void *argument)
{
  /* USER CODE BEGIN Timer100ms_Callback */
  osSemaphoreRelease(LCD_SemHandle);
  /* USER CODE END Timer100ms_Callback */
}

void HAL_TIM_PeriodElapsedCallback(TIM_HandleTypeDef *htim)
{
  if (htim->Instance == TIM4)
  {
    HAL_IncTick();
  }
}
/* USER CODE BEGIN Header */
/**
  ******************************************************************************
  * @file           : main.c
  * @brief          : Main program body
  ******************************************************************************
  * @attention
  *
  * Copyright (c) 2026 STMicroelectronics.
  * All rights reserved.
  *
  * This software is licensed under terms that can be found in the LICENSE file
  * in the root directory of this software component.
  * If no LICENSE file comes with this software, it is provided AS-IS.
  *
  ******************************************************************************
  */
/* USER CODE END Header */

void Error_Handler(void)
{
  __disable_irq();
  while (1)
  {
  }
}
